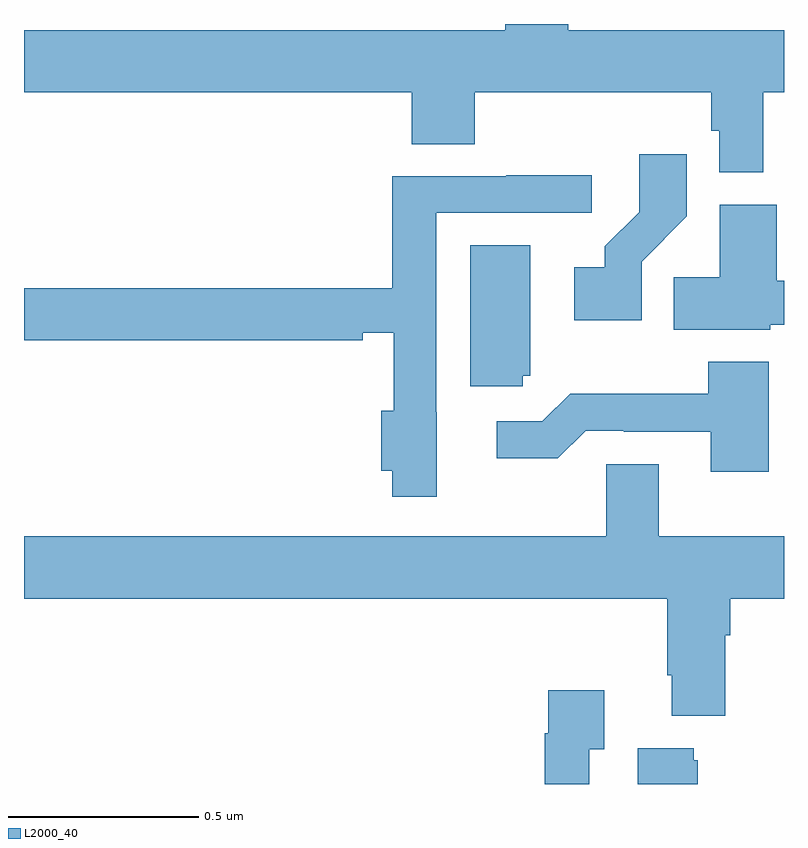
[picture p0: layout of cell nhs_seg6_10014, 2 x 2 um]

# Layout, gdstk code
import gdstk
lib = gdstk.Library(unit=1e-6, precision=1e-09)
def P(c, l, *ps):  # polygons
    for p in ps: c.add(gdstk.Polygon(p, *l))
L2000_40 = (2000, 40)

nhs_seg6_10014 = lib.new_cell('nhs_seg6_10014')
P(nhs_seg6_10014, L2000_40, [(242.945,963.32),(243,963.32),(243,963.484),(242.432,963.484),(242.432,963.5),(242.267,963.5),(242.267,963.484),(241,963.484),(241,963.32),(242.021,963.32),(242.021,963.184),(242.186,963.184),(242.186,963.32),(242.809,963.32),(242.809,963.219),(242.829,963.219),(242.829,963.11),(242.945,963.11)],
  [(242.625,962.875),(242.744,962.994),(242.744,963.157),(242.619,963.157),(242.619,963.005),(242.528,962.915),(242.528,962.86),(242.448,962.86),(242.448,962.72),(242.625,962.72)],
  [(242.086,962.478),(242.085,962.478),(242.085,963.003),(242.494,963.003),(242.494,963.102),(242.269,963.102),(242.269,963.099),(241.969,963.099),(241.969,962.804),(241,962.804),(241,962.668),(241.892,962.668),(241.892,962.687),(241.973,962.687),(241.973,962.482),(241.94,962.482),(241.94,962.324),(241.969,962.324),(241.969,962.256),(242.086,962.256)],
  [(242.964,962.709),(243,962.709),(243,962.825),(242.981,962.825),(242.981,963.025),(242.831,963.025),(242.831,962.834),(242.71,962.834),(242.71,962.696),(242.964,962.696)],
  [(242.313,962.574),(242.332,962.574),(242.332,962.918),(242.174,962.918),(242.174,962.547),(242.313,962.547)],
  [(242.96,962.611),(242.8,962.611),(242.8,962.527),(242.437,962.527),(242.364,962.454),(242.244,962.454),(242.244,962.357),(242.405,962.357),(242.478,962.43),(242.578,962.43),(242.578,962.427),(242.807,962.427),(242.807,962.322),(242.96,962.322)],
  [(242.845,961.892),(242.858,961.892),(242.858,961.988),(243,961.988),(243,962.152),(242.671,962.152),(242.671,962.342),(242.532,962.342),(242.532,962.152),(241,962.152),(241,961.988),(242.693,961.988),(242.693,961.786),(242.705,961.786),(242.705,961.679),(242.845,961.679)],
  [(242.487,961.591),(242.527,961.591),(242.527,961.747),(242.379,961.747),(242.379,961.634),(242.371,961.634),(242.371,961.5),(242.487,961.5)],
  [(242.773,961.563),(242.762,961.563),(242.762,961.594),(242.615,961.594),(242.615,961.5),(242.773,961.5)])

lib.write_gds('nhs_seg6_10014.gds')
